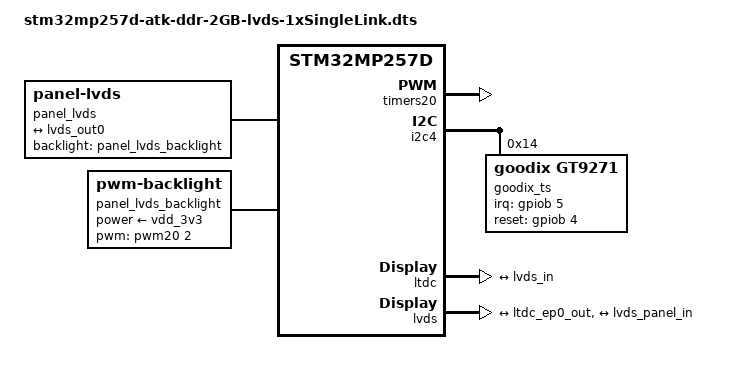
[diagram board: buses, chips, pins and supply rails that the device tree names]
#include "stm32mp257d-atk-ddr-2GB.dts"
/ {
	panel_lvds: panel-lvds {
		compatible = "panel-lvds";
		backlight = <&panel_lvds_backlight>;
		status = "okay";

		width-mm = <217>;
		height-mm = <136>;
		data-mapping = "vesa-24";

		panel-timing {
			clock-frequency = <72000000>;
			hactive = <1280>;
			vactive = <800>;
			hfront-porch = <72>;
			hback-porch = <88>;
			hsync-len = <3>;
			vfront-porch = <15>;
			vback-porch = <23>;
			vsync-len = <3>;
		};

		port {
			lvds_panel_in: endpoint {
				remote-endpoint = <&lvds_out0>;
			};
		};
	};

	panel_lvds_backlight: panel-lvds-backlight {
        compatible = "pwm-backlight";
        pwms = <&pwm20 2 5000000 0>;
		brightness-levels = <
                     0   1   2   3   4   5   6   7	 8   9
					10  11  12  13  14  15  16  17  18  19
					20  21  22  23  24  25  26  27  28  29
					30  31  32  33  34  35  36  37  38  39
                    40  41  42  43  44  45  46  47  48  49
					50  51  52  53  54  55  56  57  58  59
					60  61  62  63  64  65  66  67  68  69
					70  71  72  73  74  75  76  77  78  79
                    80  81  82  83  84  85  86  87  88  89
					90  91  92  93  94  95  96  97  98  99
					100 101 102 103 104 105 106 107 108 109
					110 111 112 113 114 115 116 117 118 119
                    120 121 122 123 124 125 126 127 128 129
					130 131 132 133 134 135 136 137 138 139
					140 141 142 143 144 145 146 147 148 149
					150 151 152 153 154 155 156 157 158 159
                    160 161 162 163 164 165 166 167 168 169
					170 171 172 173 174 175 176 177 178 179
					180 181 182 183 184 185 186 187 188 189
					190 191 192 193 194 195 196 197 198 199
                    200 201 202 203 204 205 206 207 208 209
					210 211 212 213 214 215 216 217 218 219
					220 221 222 223 224 225 226 227 228 229
					230 231 232 233 234 235 236 237 238 239
                    240 241 242 243 244 245 246 247 248 249
					250 251 252 253 254 255>;
        power-supply = <&vdd_3v3>;
        default-brightness-level = <255>;
        status = "okay";
	};
};

&timers20 {
    status = "okay";
    /* spare dmas for other usage */
    /delete-property/dmas;
    /delete-property/dma-names;

    pwm20: pwm {
        pinctrl-0 = <&pwm20_pins_a>;
        pinctrl-1 = <&pwm20_sleep_pins_a>;
        pinctrl-names = "default", "sleep";
        #pwm-cells = <2>;
        status = "okay";
    };
};

&i2c4 {
    goodix_ts@14 {
		compatible = "goodix,gt9271", "goodix,gt911";
		reg = <0x14>;
		pinctrl-names = "default";
		interrupt-parent = <&gpiob>;
		interrupts = <5 IRQ_TYPE_EDGE_RISING>;
		irq-gpios = <&gpiob 5 GPIO_ACTIVE_HIGH>;
		reset-gpios = <&gpiob 4 GPIO_ACTIVE_HIGH>;
		status = "okay";
	};
};

&ltdc {
	rotation-memory = <&ltdc_sec_rotation>;
	status = "okay";

	port {
		#address-cells = <1>;
		#size-cells = <0>;

		ltdc_ep0_out: endpoint@0 {
			reg = <0>;
			remote-endpoint = <&lvds_in>;
		};
	};
};

&lvds {
	vdd-supply = <&scmi_vddcore>;
	vdda18-supply = <&scmi_v1v8>;
	status = "okay";

	ports {
		#address-cells = <1>;
		#size-cells = <0>;

		port@0 {
			reg = <0>;
			lvds_in: endpoint {
				remote-endpoint = <&ltdc_ep0_out>;
			};
		};

		port@1 {
			reg = <1>;
			lvds_out0: endpoint {
				remote-endpoint = <&lvds_panel_in>;
			};
		};
	};
};
